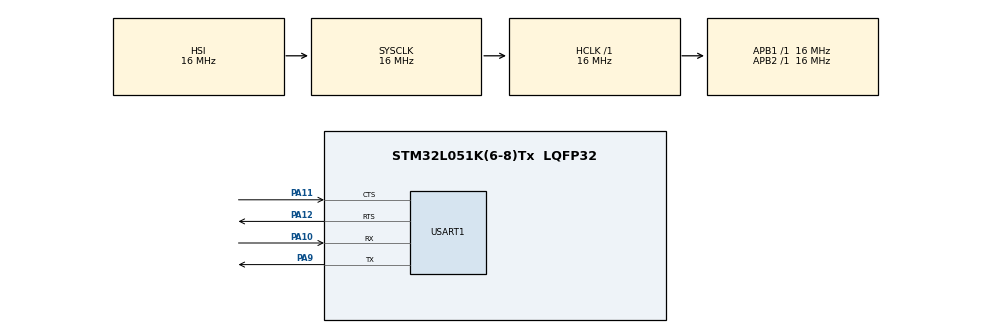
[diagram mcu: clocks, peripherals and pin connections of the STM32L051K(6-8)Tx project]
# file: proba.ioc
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Mcu.Family=STM32L0
Mcu.Name=STM32L051K(6-8)Tx
Mcu.Package=LQFP32
NVIC.USART1_IRQn=true\:0\:0\:false\:false\:true\:true\:true\:true
PA10.Mode=Asynchronous
PA10.Signal=USART1_RX
PA11.Mode=CTS_RTS
PA11.Signal=USART1_CTS
PA12.Mode=CTS_RTS
PA12.Signal=USART1_RTS
PA9.Mode=Asynchronous
PA9.Signal=USART1_TX
ProjectManager.HeapSize=0x200
ProjectManager.StackSize=0x400
ProjectManager.TargetToolchain=STM32CubeIDE
RCC.AHBFreq_Value=16000000
RCC.APB1Freq_Value=16000000
RCC.APB1TimFreq_Value=16000000
RCC.APB2Freq_Value=16000000
RCC.APB2TimFreq_Value=16000000
RCC.HCLKFreq_Value=16000000
RCC.HSI16_VALUE=16000000
RCC.HSI_VALUE=16000000
RCC.LSE_VALUE=32768
RCC.MSI_VALUE=2097000
RCC.SYSCLKFreq_VALUE=16000000
RCC.SYSCLKSource=RCC_SYSCLKSOURCE_HSI
RCC.VCOOutputFreq_Value=48000000
USART1.SwapParam=ADVFEATURE_SWAP_DISABLE
USART1.VirtualMode-Asynchronous=VM_ASYNC
USART1.WordLength=WORDLENGTH_8B
board=custom

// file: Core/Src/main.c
/* USER CODE BEGIN Header */
/**
  ******************************************************************************
  * @file           : main.c
  * @brief          : Main program body
  ******************************************************************************
  * @attention
  *
  * Copyright (c) 2023 STMicroelectronics.
  * All rights reserved.
  *
  * This software is licensed under terms that can be found in the LICENSE file
  * in the root directory of this software component.
  * If no LICENSE file comes with this software, it is provided AS-IS.
  *
  ******************************************************************************
  */
/* USER CODE END Header */
#include "main.h"

/* USER CODE BEGIN Includes */
#include <string.h>
/* USER CODE END Includes */

/* USER CODE BEGIN PD */
#define BUFFER_SIZE 128
/* USER CODE END PD */

UART_HandleTypeDef huart1;

/* USER CODE BEGIN PV */
char ATcommand[64];
uint16_t ble_msg_len;
uint16_t i = 0;
char buffer[BUFFER_SIZE];
int bufferIndex = 0;
uint8_t received_byte[10];
/* USER CODE END PV */

void SystemClock_Config(void);
static void MX_GPIO_Init(void);
static void MX_USART1_UART_Init(void);

/* USER CODE BEGIN 0 */
void SendMSG(char* cmd){
	  ble_msg_len= strlen(cmd);

	  strcpy(ATcommand,cmd);
	  ATcommand[ble_msg_len++]='\r';
//

//      received_byte[9] = '\0'; // Null-terminate the buffer
//	  memset( received_byte, 0, 10);
	  HAL_UART_Transmit(&huart1,(uint8_t *)ATcommand,ble_msg_len,1000);
	  HAL_Delay(1000);
	  for(uint8_t u; u<64; u++){
		  ATcommand[u]=0;
	  }

}
/* USER CODE END 0 */

int main(void)
{

  /* MCU Configuration--------------------------------------------------------*/

  /* Reset of all peripherals, Initializes the Flash interface and the Systick. */
  HAL_Init();

  /* Configure the system clock */
  SystemClock_Config();

  /* Initialize all configured peripherals */
  MX_GPIO_Init();
  MX_USART1_UART_Init();
  /* USER CODE BEGIN 2 */
  HAL_Delay(800);
   HAL_UART_Receive_IT(&huart1,  received_byte,2);
   HAL_Delay(800);
   SendMSG("ati 22");
   //HAL_UART_IRQHandler(&huart1);
   HAL_Delay(800);
  // printf("Test UART\r\n");
   //uint8_t status;
   SendMSG("AT");

 //  ReadBuffer();
   HAL_Delay(1000);
   SendMSG("AT%S 0=\"Cuktest\""); // ustawienie device name

 //  ReadBuffer();
   HAL_Delay(1000);
   SendMSG("AT%S 1=\"2154657374776961646F6D6F73636921\""); //UUID

  // ReadBuffer();
   HAL_Delay(1000);
   SendMSG("ATS 100=1"); // VSP And start advertow

 //  ReadBuffer();
   HAL_Delay(1000);
   SendMSG("ATS 100?"); // VSP And start advertow

   //ReadBuffer();
   HAL_Delay(1000);
 //  ReadBuffer();
   SendMSG("ATS 101=4"); // 4dBm

  // ReadBuffer();
   HAL_Delay(800);
   SendMSG("ATS 103=0"); // nazwe ustawia na ta wczesniej wpisana

   //ReadBuffer();
   HAL_Delay(1000);
   SendMSG("ATS 106=100"); // ustawia 100 sekund na skanowanie
 //  HAL_Delay(800);
 //  SendMSG("ATS 108=3"); // ustawia tryb advertow dla nonvsp

   //ReadBuffer();
   HAL_Delay(1000);
   SendMSG("ATS 109=1");

   HAL_Delay(1000);
  // ReadBuffer();
   SendMSG("ATS 201=200");  // interwal advertow vsp

   HAL_Delay(1000);
  // ReadBuffer();
   SendMSG("ATS 204=256");  // tx bufor vsp

   HAL_Delay(1000);
  // ReadBuffer();
   SendMSG("ATS 205=256");  // rx bufor vsp

   HAL_Delay(1000);
  // ReadBuffer();
   SendMSG("ATS 301=7500");  //vsp connection interval

   HAL_Delay(1000);

   //ReadBuffer();
   SendMSG("AT&W"); // zapis rejestru S
   HAL_Delay(1000);

   //ReadBuffer();

   SendMSG("ATZ"); //restart
   HAL_Delay(1000);
 //  ReadBuffer();
  /* USER CODE END 2 */

  /* Infinite loop */
  while (1)
  {

  }
}

void SystemClock_Config(void)
{
  RCC_OscInitTypeDef RCC_OscInitStruct = {0};
  RCC_ClkInitTypeDef RCC_ClkInitStruct = {0};
  RCC_PeriphCLKInitTypeDef PeriphClkInit = {0};

  /** Configure the main internal regulator output voltage
  */
  __HAL_PWR_VOLTAGESCALING_CONFIG(PWR_REGULATOR_VOLTAGE_SCALE1);

  /** Initializes the RCC Oscillators according to the specified parameters
  * in the RCC_OscInitTypeDef structure.
  */
  RCC_OscInitStruct.OscillatorType = RCC_OSCILLATORTYPE_HSI;
  RCC_OscInitStruct.HSIState = RCC_HSI_ON;
  RCC_OscInitStruct.HSICalibrationValue = RCC_HSICALIBRATION_DEFAULT;
  RCC_OscInitStruct.PLL.PLLState = RCC_PLL_NONE;
  if (HAL_RCC_OscConfig(&RCC_OscInitStruct) != HAL_OK)
  {
    Error_Handler();
  }

  /** Initializes the CPU, AHB and APB buses clocks
  */
  RCC_ClkInitStruct.ClockType = RCC_CLOCKTYPE_HCLK|RCC_CLOCKTYPE_SYSCLK
                              |RCC_CLOCKTYPE_PCLK1|RCC_CLOCKTYPE_PCLK2;
  RCC_ClkInitStruct.SYSCLKSource = RCC_SYSCLKSOURCE_HSI;
  RCC_ClkInitStruct.AHBCLKDivider = RCC_SYSCLK_DIV1;
  RCC_ClkInitStruct.APB1CLKDivider = RCC_HCLK_DIV1;
  RCC_ClkInitStruct.APB2CLKDivider = RCC_HCLK_DIV1;

  if (HAL_RCC_ClockConfig(&RCC_ClkInitStruct, FLASH_LATENCY_0) != HAL_OK)
  {
    Error_Handler();
  }
  PeriphClkInit.PeriphClockSelection = RCC_PERIPHCLK_USART1;
  PeriphClkInit.Usart1ClockSelection = RCC_USART1CLKSOURCE_PCLK2;
  if (HAL_RCCEx_PeriphCLKConfig(&PeriphClkInit) != HAL_OK)
  {
    Error_Handler();
  }
}

static void MX_USART1_UART_Init(void)
{

  huart1.Instance = USART1;
  huart1.Init.BaudRate = 115200;
  huart1.Init.WordLength = UART_WORDLENGTH_8B;
  huart1.Init.StopBits = UART_STOPBITS_1;
  huart1.Init.Parity = UART_PARITY_NONE;
  huart1.Init.Mode = UART_MODE_TX_RX;
  huart1.Init.HwFlowCtl = UART_HWCONTROL_RTS_CTS;
  huart1.Init.OverSampling = UART_OVERSAMPLING_16;
  huart1.Init.OneBitSampling = UART_ONE_BIT_SAMPLE_DISABLE;
  huart1.AdvancedInit.AdvFeatureInit = UART_ADVFEATURE_NO_INIT;
  if (HAL_UART_Init(&huart1) != HAL_OK)
  {
    Error_Handler();
  }

}

static void MX_GPIO_Init(void)
{

  /* GPIO Ports Clock Enable */
  __HAL_RCC_GPIOA_CLK_ENABLE();

}

/* USER CODE BEGIN 4 */
void HAL_UART_RxCpltCallback(UART_HandleTypeDef *huart)
{

	HAL_UART_Receive_IT(&huart1,received_byte,2);

	buffer[bufferIndex] = received_byte[0];
	bufferIndex++;
	buffer[bufferIndex] = received_byte[1];
	bufferIndex++;
}

//int o = 1;
/*void ReadBuffer(void){
	//printf("%d.", o);
	//printf(" %s", buffer);
	memset(buffer, 0, 127);
	bufferIndex = 0;
	//o++;
}*/
/* USER CODE END 4 */

void Error_Handler(void)
{
  __disable_irq();
  while (1)
  {
  }
}
